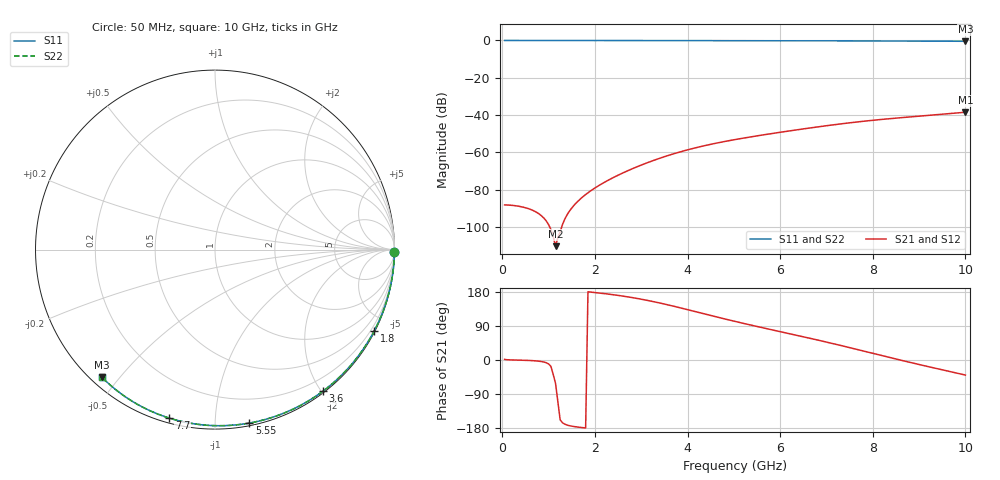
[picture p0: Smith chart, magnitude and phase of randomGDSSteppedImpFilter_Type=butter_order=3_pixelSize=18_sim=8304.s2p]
! freq	dB(S11)	phase(S11)	dB(S12)	phase(S12)
!  dB(S21)	phase(S21)	dB(S22)	phase(S22)
!S-par simulation data
#  GHz  S  DB  R 50
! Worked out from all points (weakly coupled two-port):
!   200 points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, 50 MHz to 10 GHz, reference 50 ohm
!   highest |S21| = -38.46 dB at 10 GHz (marker M1); lowest = -110.3 dB at 1.15 GHz (marker M2)
!   lowest |S11| = -0.4 dB at 10 GHz (marker M3), VSWR 39.04, Z = 1.54 - j22.5 ohm
!   |S11| at or under -10 dB: nowhere
!   |S22| runs from -0.4 to 0.0 dB; largest |S21 - S12| = 0
!   S11 on the Smith chart (normalised r, x): 50 MHz: open; 1.8 GHz: 0.04, -4.17; 3.6 GHz: 0.02, -2.02; 5.55 GHz: 0.02, -1.22; 7.7 GHz: 0.02, -0.76; 10 GHz: 0.03, -0.45
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0.05  -0.00 -0.8  -88.15 1.6  -88.15 1.6  -0.00 -0.8
0.6  -0.01 -9.1  -90.48 -1.3  -90.48 -1.3  -0.01 -9.1
1.15  -0.02 -17.3  -110.27 -61.9  -110.27 -61.9  -0.02 -17.3
1.75  -0.03 -26.2  -83.58 -178.7  -83.58 -178.7  -0.03 -26.2
1.8  -0.03 -27.0  -82.58 -179.4  -82.58 -179.4  -0.03 -27.0
1.95  -0.04 -29.2  -79.90 178.7  -79.90 178.7  -0.04 -29.2
2.25  -0.04 -33.5  -75.41 174.5  -75.41 174.5  -0.04 -33.5
2.55  -0.05 -37.9  -71.63 169.6  -71.63 169.6  -0.05 -37.9
2.95  -0.06 -43.6  -67.30 161.6  -67.30 161.6  -0.06 -43.6
3.4  -0.07 -49.9  -63.15 150.4  -63.15 150.4  -0.07 -49.9
3.6  -0.07 -52.7  -61.52 144.8  -61.52 144.8  -0.07 -52.7
3.9  -0.08 -56.9  -59.31 136.0  -59.31 136.0  -0.08 -56.9
4.25  -0.09 -61.6  -57.08 125.2  -57.08 125.2  -0.09 -61.6
4.65  -0.10 -67.0  -54.90 112.9  -54.90 112.9  -0.10 -67.0
5.05  -0.11 -72.3  -53.02 101.1  -53.02 101.1  -0.11 -72.3
5.55  -0.13 -78.8  -50.95 87.1  -50.95 87.1  -0.13 -78.8
6.1  -0.15 -85.7  -48.85 72.2  -48.85 72.2  -0.15 -85.7
6.7  -0.18 -93.1  -46.71 55.8  -46.71 55.8  -0.18 -93.1
7.7  -0.24 -105.2  -43.58 26.7  -43.58 26.7  -0.24 -105.2
8.35  -0.29 -112.8  -41.96 7.1  -41.96 7.1  -0.29 -112.8
9.15  -0.36 -122.0  -40.31 -16.1  -40.31 -16.1  -0.36 -122.0
10  -0.45 -131.6  -38.46 -39.7  -38.46 -39.7  -0.45 -131.6
